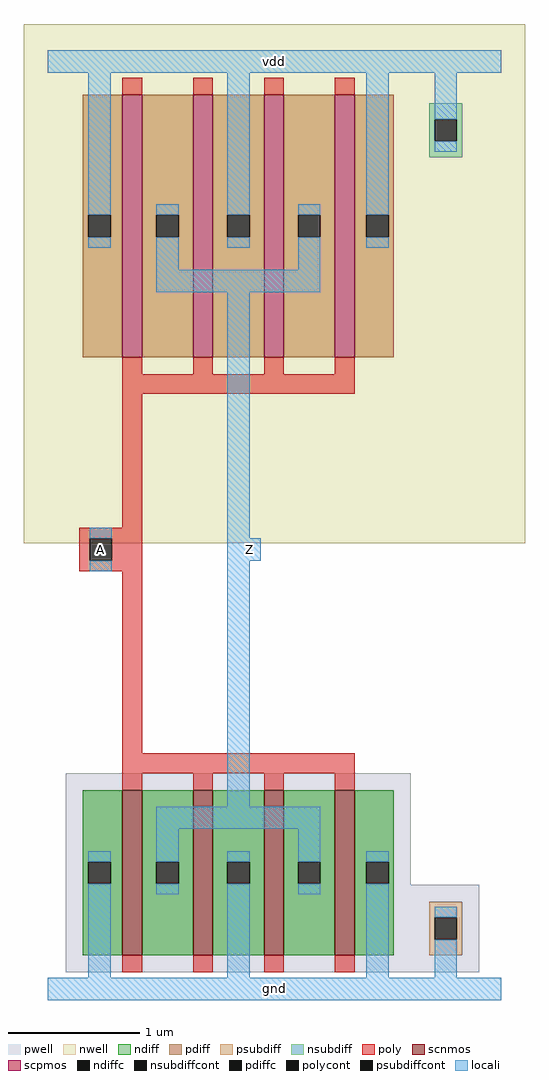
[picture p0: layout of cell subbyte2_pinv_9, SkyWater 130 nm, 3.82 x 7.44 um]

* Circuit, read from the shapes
.subckt subbyte2_pinv_9 A Z gnd vdd
XM1 Z A gnd gnd sky130_fd_pr__nfet_01v8 w=1.26 l=0.15 m=4
XM2 Z A vdd vdd sky130_fd_pr__pfet_01v8 w=2 l=0.15 m=4
.ends

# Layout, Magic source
magic
tech sky130A
magscale 1 2
<< nwell >>
rect -36 679 728 1471
<< pwell >>
rect 28 159 554 329
rect 28 25 658 159
<< scnmos >>
rect 114 51 144 303
rect 222 51 252 303
rect 330 51 360 303
rect 438 51 468 303
<< scpmos >>
rect 114 963 144 1363
rect 222 963 252 1363
rect 330 963 360 1363
rect 438 963 468 1363
<< ndiff >>
rect 54 194 114 303
rect 54 160 62 194
rect 96 160 114 194
rect 54 51 114 160
rect 144 194 222 303
rect 144 160 166 194
rect 200 160 222 194
rect 144 51 222 160
rect 252 194 330 303
rect 252 160 274 194
rect 308 160 330 194
rect 252 51 330 160
rect 360 194 438 303
rect 360 160 382 194
rect 416 160 438 194
rect 360 51 438 160
rect 468 194 528 303
rect 468 160 486 194
rect 520 160 528 194
rect 468 51 528 160
<< pdiff >>
rect 54 1180 114 1363
rect 54 1146 62 1180
rect 96 1146 114 1180
rect 54 963 114 1146
rect 144 1180 222 1363
rect 144 1146 166 1180
rect 200 1146 222 1180
rect 144 963 222 1146
rect 252 1180 330 1363
rect 252 1146 274 1180
rect 308 1146 330 1180
rect 252 963 330 1146
rect 360 1180 438 1363
rect 360 1146 382 1180
rect 416 1146 438 1180
rect 360 963 438 1146
rect 468 1180 528 1363
rect 468 1146 486 1180
rect 520 1146 528 1180
rect 468 963 528 1146
<< ndiffc >>
rect 62 160 96 194
rect 166 160 200 194
rect 274 160 308 194
rect 382 160 416 194
rect 486 160 520 194
<< pdiffc >>
rect 62 1146 96 1180
rect 166 1146 200 1180
rect 274 1146 308 1180
rect 382 1146 416 1180
rect 486 1146 520 1180
<< psubdiff >>
rect 582 109 632 133
rect 582 75 590 109
rect 624 75 632 109
rect 582 51 632 75
<< nsubdiff >>
rect 582 1326 632 1350
rect 582 1292 590 1326
rect 624 1292 632 1326
rect 582 1268 632 1292
<< psubdiffcont >>
rect 590 75 624 109
<< nsubdiffcont >>
rect 590 1292 624 1326
<< poly >>
rect 114 1363 144 1389
rect 222 1363 252 1389
rect 330 1363 360 1389
rect 438 1363 468 1389
rect 114 937 144 963
rect 222 937 252 963
rect 330 937 360 963
rect 438 937 468 963
rect 114 907 468 937
rect 114 703 144 907
rect 48 687 144 703
rect 48 653 64 687
rect 98 653 144 687
rect 48 637 144 653
rect 114 359 144 637
rect 114 329 468 359
rect 114 303 144 329
rect 222 303 252 329
rect 330 303 360 329
rect 438 303 468 329
rect 114 25 144 51
rect 222 25 252 51
rect 330 25 360 51
rect 438 25 468 51
<< polycont >>
rect 64 653 98 687
<< locali >>
rect 0 1397 692 1431
rect 62 1180 96 1397
rect 62 1130 96 1146
rect 166 1180 200 1196
rect 166 1096 200 1146
rect 274 1180 308 1397
rect 274 1130 308 1146
rect 382 1180 416 1196
rect 382 1096 416 1146
rect 486 1180 520 1397
rect 590 1326 624 1397
rect 590 1276 624 1292
rect 486 1130 520 1146
rect 166 1062 416 1096
rect 64 687 98 703
rect 64 637 98 653
rect 274 687 308 1062
rect 274 653 325 687
rect 274 278 308 653
rect 166 244 416 278
rect 62 194 96 210
rect 62 17 96 160
rect 166 194 200 244
rect 166 144 200 160
rect 274 194 308 210
rect 274 17 308 160
rect 382 194 416 244
rect 382 144 416 160
rect 486 194 520 210
rect 486 17 520 160
rect 590 109 624 125
rect 590 17 624 75
rect 0 -17 692 17
<< labels >>
rlabel locali s 81 670 81 670 4 A
port 1 nsew
rlabel locali s 308 670 308 670 4 Z
port 2 nsew
rlabel locali s 346 0 346 0 4 gnd
port 3 nsew
rlabel locali s 346 1414 346 1414 4 vdd
port 4 nsew
<< properties >>
string FIXED_BBOX 0 0 692 1079
<< end >>
